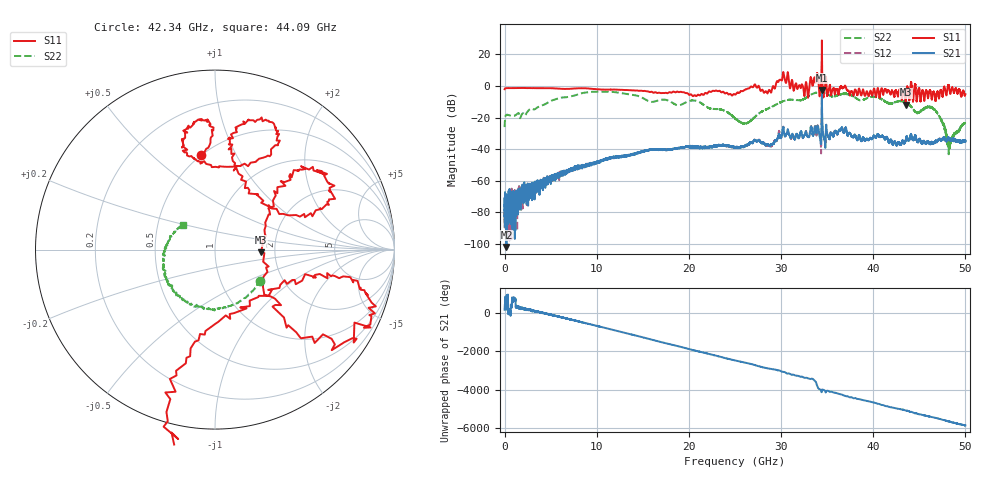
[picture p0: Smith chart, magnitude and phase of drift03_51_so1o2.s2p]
!Created with skrf (http://scikit-rf.org).
# Hz S RI R 50.0
!freq ReS11 ImS11 ReS21 ImS21 ReS12 ImS12 ReS22 ImS22
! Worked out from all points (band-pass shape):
!   10000 points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, 5.3 MHz to 50 GHz, reference 50 ohm
!   highest |S21| = -2.60 dB at 34.43 GHz (marker M1); lowest = -101.7 dB at 205.3 MHz (marker M2)
!   |S21| within 3 dB of the highest: 34.42759 GHz to 34.43476 GHz (7.174 MHz wide, 0.0208 % of centre)
!   lowest |S11| = -11.8 dB at 43.52 GHz (marker M3), VSWR 1.69, Z = 84.5 - j2.61 ohm
!   |S11| at or under -10 dB: 43.48623 GHz to 43.54468 GHz (58.46 MHz wide, 0.134 % of centre); 43.54576 GHz to 43.55128 GHz (5.525 MHz wide, 0.0127 % of centre); 44.31444 GHz to 44.31573 GHz (1.289 MHz wide, 0.00291 % of centre)
!   |S22| runs from -43.2 to -3.6 dB; largest |S21 - S12| = 0.24
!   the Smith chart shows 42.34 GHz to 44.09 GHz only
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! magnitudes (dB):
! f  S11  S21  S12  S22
! 5.3 MHz  -2.1  -79.0  -77.5  -26.0
! 205.3 MHz  -1.4  -101.7  -82.6  -18.3
! 2.965 GHz  -1.4  -61.8  -63.7  -14.4
! 8.34 GHz  -1.5  -50.7  -51.2  -4.7
! 16.67 GHz  -4.4  -40.2  -40.3  -9.2
! 20.74 GHz  -6.3  -38.9  -38.6  -9.3
! 25.01 GHz  -5.5  -38.9  -38.9  -20.4
! 26.25 GHz  -2.2  -37.4  -37.2  -23.7
! 28.72 GHz  -2.5  -37.5  -37.4  -14.0
! 30.14 GHz  4.4  -29.6  -29.8  -9.9
! 32.74 GHz  2.0  -29.4  -29.3  -7.3
! 33.34 GHz  2.6  -27.6  -27.8  -5.3
! 33.82 GHz  4.0  -29.1  -29.5  -4.3
! 34.43 GHz  28.7  -2.6  -4.8  -4.0
! 36.49 GHz  -0.3  -27.9  -27.9  -5.3
! 41.67 GHz  -2.9  -35.4  -35.6  -11.0
! 43.52 GHz  -11.8  -34.1  -34.5  -10.3
! 44.75 GHz  -8.8  -34.7  -35.0  -16.8
! 46.62 GHz  -4.2  -35.9  -35.7  -14.8
! 47.48 GHz  -5.9  -34.3  -33.7  -22.8
! 48.24 GHz  -1.2  -32.8  -33.3  -37.2
! 50 GHz  -5.3  -34.6  -34.5  -23.5
